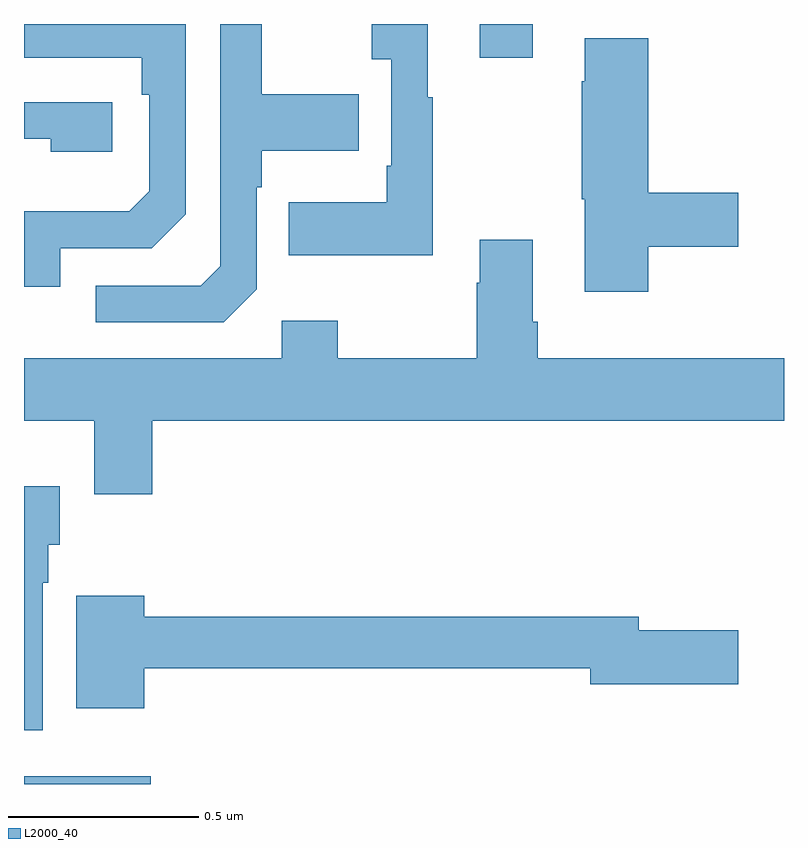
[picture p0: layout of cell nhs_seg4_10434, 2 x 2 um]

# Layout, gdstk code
import gdstk
lib = gdstk.Library(unit=1e-6, precision=1e-09)
def R(c, l, rs):  # rectangles x0, y0, x1, y1
    for r in rs: c.add(gdstk.rectangle(r[:2], r[2:], *l))
def P(c, l, *ps):  # polygons
    for p in ps: c.add(gdstk.Polygon(p, *l))
L2000_40 = (2000, 40)

nhs_seg4_10434 = lib.new_cell('nhs_seg4_10434')
R(nhs_seg4_10434, L2000_40, [(240,759.9,240.334,759.921), (241.199,761.811,241.339,761.9)])
P(nhs_seg4_10434, L2000_40, [(241.075,761.707),(241.063,761.707),(241.063,761.9),(240.915,761.9),(240.915,761.807),(240.966,761.807),(240.966,761.527),(240.954,761.527),(240.954,761.431),(240.697,761.431),(240.697,761.291),(241.075,761.291)],
  [(240.612,761.202),(240.612,761.471),(240.625,761.471),(240.625,761.567),(240.881,761.567),(240.881,761.715),(240.625,761.715),(240.625,761.9),(240.516,761.9),(240.516,761.262),(240.465,761.211),(240.189,761.211),(240.189,761.115),(240.525,761.115)],
  [(240.096,761.31),(240.336,761.31),(240.426,761.4),(240.426,761.9),(240,761.9),(240,761.811),(240.31,761.811),(240.31,761.714),(240.33,761.714),(240.33,761.46),(240.277,761.407),(240,761.407),(240,761.208),(240.096,761.208)],
  [(241.643,761.314),(241.879,761.314),(241.879,761.456),(241.643,761.456),(241.643,761.863),(241.475,761.863),(241.475,761.75),(241.468,761.75),(241.468,761.439),(241.475,761.439),(241.475,761.196),(241.643,761.196)],
  [(240.232,761.694),(240,761.694),(240,761.598),(240.071,761.598),(240.071,761.564),(240.232,761.564)],
  [(240.338,760.856),(242,760.856),(242,761.02),(241.352,761.02),(241.352,761.116),(241.339,761.116),(241.339,761.332),(241.199,761.332),(241.199,761.219),(241.192,761.219),(241.192,761.02),(240.825,761.02),(240.825,761.119),(240.678,761.119),(240.678,761.02),(240,761.02),(240,760.856),(240.185,760.856),(240.185,760.662),(240.338,760.662)],
  [(240.049,760.43),(240.064,760.43),(240.064,760.53),(240.094,760.53),(240.094,760.684),(240,760.684),(240,760.041),(240.049,760.041)],
  [(240.316,760.204),(241.49,760.204),(241.49,760.162),(241.879,760.162),(241.879,760.304),(241.618,760.304),(241.618,760.34),(240.316,760.34),(240.316,760.396),(240.137,760.396),(240.137,760.1),(240.316,760.1)])

lib.write_gds('nhs_seg4_10434.gds')
